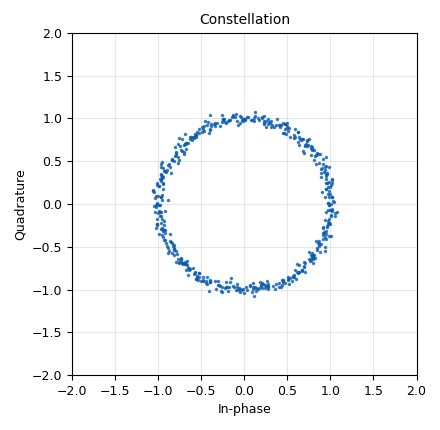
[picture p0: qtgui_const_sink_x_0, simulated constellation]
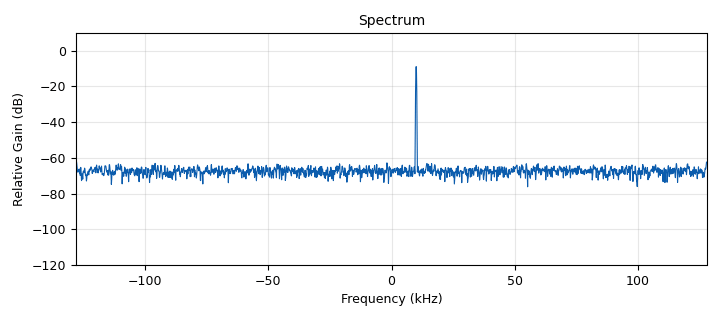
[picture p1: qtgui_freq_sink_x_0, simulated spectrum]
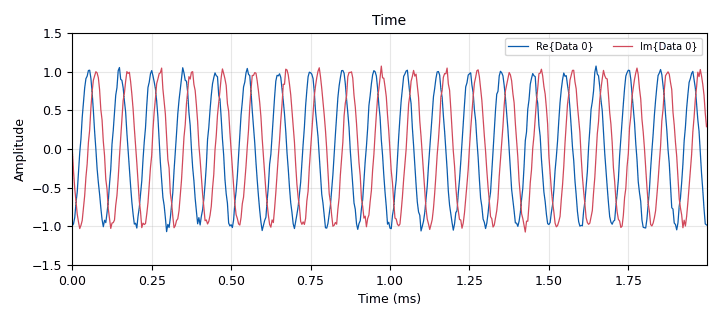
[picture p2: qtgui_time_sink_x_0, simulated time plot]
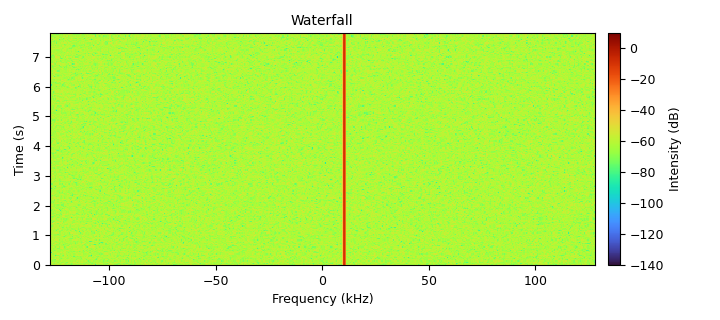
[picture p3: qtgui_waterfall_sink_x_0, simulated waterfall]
options:
  parameters:
    generate_options: qt_gui
    id: web_complex_sinks
    output_language: python
    title: '''Complex sinks'''
  states: {}

blocks:
- name: enable_noise
  id: variable_qtgui_check_box
  parameters:
    'false': 'False'
    label: '''Enable noise'''
    'true': 'True'
    type: bool
    value: 'True'
  states: {}
- name: freq
  id: variable_qtgui_range
  parameters:
    gui_hint: 0,0,1,1
    label: '''Tone frequency'''
    start: '-100000'
    step: '1000'
    stop: '100000'
    value: '10000'
  states: {}
- name: freq_label
  id: variable_qtgui_label
  parameters:
    label: '''Frequency is'''
    type: real
    value: freq
  states: {}
- name: noise
  id: variable_qtgui_range
  parameters:
    gui_hint: 0,1,1,1
    label: '''Noise'''
    start: '0'
    step: '0.01'
    stop: '1'
    value: '0.05'
  states: {}
- name: samp_rate
  id: variable
  parameters:
    value: '256000'
  states: {}
- name: wave
  id: variable_qtgui_chooser
  parameters:
    label: '''Waveform'''
    label0: '''Cosine'''
    label1: '''Square'''
    label2: '''Triangle'''
    num_opts: '3'
    option0: analog.GR_COS_WAVE
    option1: analog.GR_SQR_WAVE
    option2: analog.GR_TRI_WAVE
    type: raw
    value: analog.GR_COS_WAVE
  states: {}
- name: analog_noise_source_x_0
  id: analog_noise_source_x
  parameters:
    amp: noise if enable_noise else 0
    noise_type: analog.GR_GAUSSIAN
    seed: '0'
    type: complex
  states: {}
- name: analog_sig_source_x_0
  id: analog_sig_source_x
  parameters:
    amp: '1'
    freq: freq
    offset: '0'
    phase: '0'
    samp_rate: samp_rate
    type: complex
    waveform: wave
  states: {}
- name: blocks_add_xx_0
  id: blocks_add_xx
  parameters:
    type: complex
  states: {}
- name: blocks_throttle2_0
  id: blocks_throttle2
  parameters:
    samples_per_second: samp_rate
    type: complex
  states: {}
- name: qtgui_const_sink_x_0
  id: qtgui_const_sink_x
  parameters:
    gui_hint: 'tabs@1: 0,1,1,1'
    name: '''Constellation'''
    size: '512'
    type: complex
  states: {}
- name: qtgui_freq_sink_x_0
  id: qtgui_freq_sink_x
  parameters:
    average: '0.2'
    bw: samp_rate
    fc: '0'
    fftsize: '2048'
    gui_hint: 'tabs@0: 0,0,1,1'
    name: '''Spectrum'''
    type: complex
    ymin: '-120'
  states: {}
- name: qtgui_time_sink_x_0
  id: qtgui_time_sink_x
  parameters:
    gui_hint: 'tabs@1: 0,0,1,1'
    name: '''Time'''
    size: '512'
    srate: samp_rate
    type: complex
    ymax: '1.5'
    ymin: '-1.5'
  states: {}
- name: qtgui_waterfall_sink_x_0
  id: qtgui_waterfall_sink_x
  parameters:
    bw: samp_rate
    fc: '0'
    fftsize: '1024'
    gui_hint: 'tabs@0: 1,0,1,1'
    name: '''Waterfall'''
    type: complex
  states: {}
- name: tabs
  id: qtgui_tab_widget
  parameters:
    gui_hint: 1,0,1,2
    label0: '''Spectrum'''
    label1: '''Time'''
    num_tabs: '2'
  states: {}

connections:
- [analog_noise_source_x_0, '0', blocks_add_xx_0, '1']
- [analog_sig_source_x_0, '0', blocks_add_xx_0, '0']
- [blocks_add_xx_0, '0', blocks_throttle2_0, '0']
- [blocks_throttle2_0, '0', qtgui_const_sink_x_0, '0']
- [blocks_throttle2_0, '0', qtgui_freq_sink_x_0, '0']
- [blocks_throttle2_0, '0', qtgui_time_sink_x_0, '0']
- [blocks_throttle2_0, '0', qtgui_waterfall_sink_x_0, '0']

metadata:
  file_format: 1
  grc_version: 3.10.12.0
